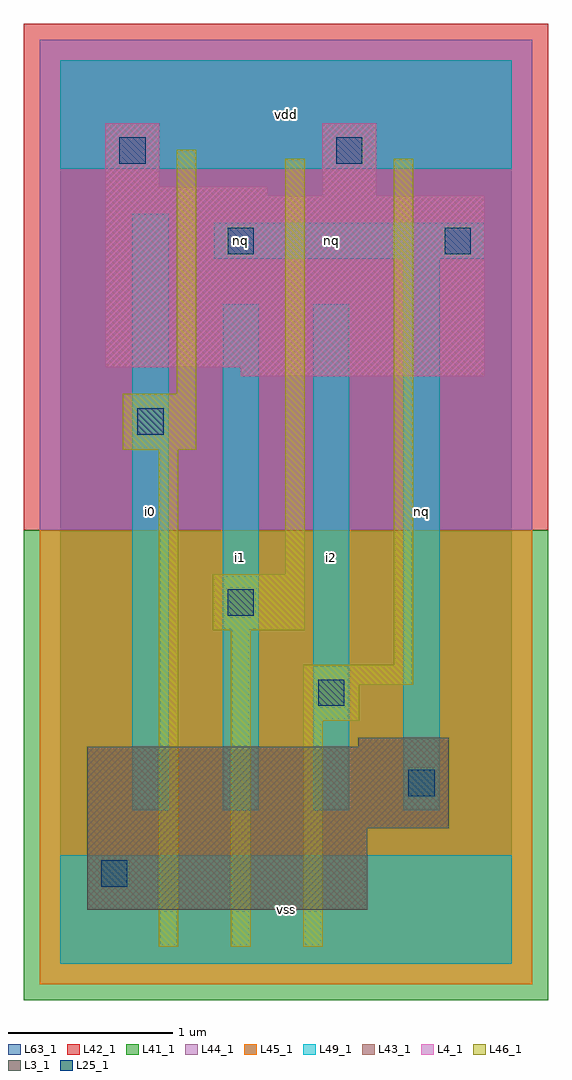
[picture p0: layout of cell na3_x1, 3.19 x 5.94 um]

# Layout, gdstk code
import gdstk
lib = gdstk.Library(unit=1e-6, precision=1e-09)
def R(c, l, rs):  # rectangles x0, y0, x1, y1
    for r in rs: c.add(gdstk.rectangle(r[:2], r[2:], *l))
L3_1 = (3, 1)
L4_1 = (4, 1)
L25_1 = (25, 1)
L41_1 = (41, 1)
L42_1 = (42, 1)
L43_1 = (43, 1)
L44_1 = (44, 1)
L45_1 = (45, 1)
L46_1 = (46, 1)
L49_1 = (49, 1)
L63_1 = (63, 1)

na3_x1 = lib.new_cell('na3_x1')
R(na3_x1, L3_1, [(0.165,0.33,1.87,0.825), (0.165,0.825,2.365,1.32), (1.815,1.32,2.365,1.375)])
R(na3_x1, L4_1, [(1.1,3.575,2.585,3.63), (0.275,3.63,2.585,4.675), (0.275,4.675,1.265,4.73), (1.595,4.675,1.925,5.115), (0.275,4.73,0.605,5.115)])
R(na3_x1, L25_1, [(0.25,0.47,0.41,0.63), (2.12,1.02,2.28,1.18), (1.57,1.57,1.73,1.73), (1.02,2.12,1.18,2.28), (0.47,3.22,0.63,3.38), (1.02,4.32,1.18,4.48), (2.34,4.32,2.5,4.48), (0.36,4.87,0.52,5.03), (1.68,4.87,1.84,5.03)])
R(na3_x1, L41_1, [(-0.22,-0.22,2.97,2.64)])
R(na3_x1, L42_1, [(-0.22,2.64,2.97,5.72)])
R(na3_x1, L43_1, [(0.165,0.33,1.87,0.825), (0.165,0.825,2.365,1.32), (1.815,1.32,2.365,1.375), (1.1,3.575,2.585,3.63), (0.275,3.63,2.585,4.675), (0.275,4.675,1.265,4.73), (1.595,4.675,1.925,5.115), (0.275,4.73,0.605,5.115)])
R(na3_x1, L44_1, [(-0.125,2.64,2.875,5.625)])
R(na3_x1, L45_1, [(-0.125,-0.125,2.875,2.64)])
R(na3_x1, L46_1, [(0.6,0.105,0.72,3.13), (1.04,0.105,1.16,2.03), (1.48,0.105,1.6,1.48), (1.48,1.48,1.82,1.7), (1.48,1.7,2.15,1.82), (2.03,1.82,2.15,4.9), (0.93,2.03,1.49,2.37), (1.37,2.37,1.49,4.9), (0.38,3.13,0.83,3.47), (0.71,3.47,0.83,4.955)])
R(na3_x1, L49_1, [(0,0,2.75,0.66), (0.44,0.935,0.66,4.565), (0.99,0.935,1.21,4.015), (1.54,0.935,1.76,4.015), (2.09,0.935,2.31,4.29), (0.935,4.29,2.585,4.51), (0,4.84,2.75,5.5)])
R(na3_x1, L63_1, [(0,0,2.75,5.5)])
na3_x1.add(gdstk.Label('i1', (1.1,2.475), layer=49, texttype=1))
na3_x1.add(gdstk.Label('i0', (0.55,2.75), layer=49, texttype=1))
na3_x1.add(gdstk.Label('nq', (1.1,4.4), layer=49, texttype=1))
na3_x1.add(gdstk.Label('vss', (1.375,0.33), layer=49, texttype=1))
na3_x1.add(gdstk.Label('i2', (1.65,2.475), layer=49, texttype=1))
na3_x1.add(gdstk.Label('vdd', (1.375,5.17), layer=49, texttype=1))
na3_x1.add(gdstk.Label('nq', (1.65,4.4), layer=49, texttype=1))
na3_x1.add(gdstk.Label('nq', (2.2,2.75), layer=49, texttype=1))

lib.write_gds('na3_x1.gds')
